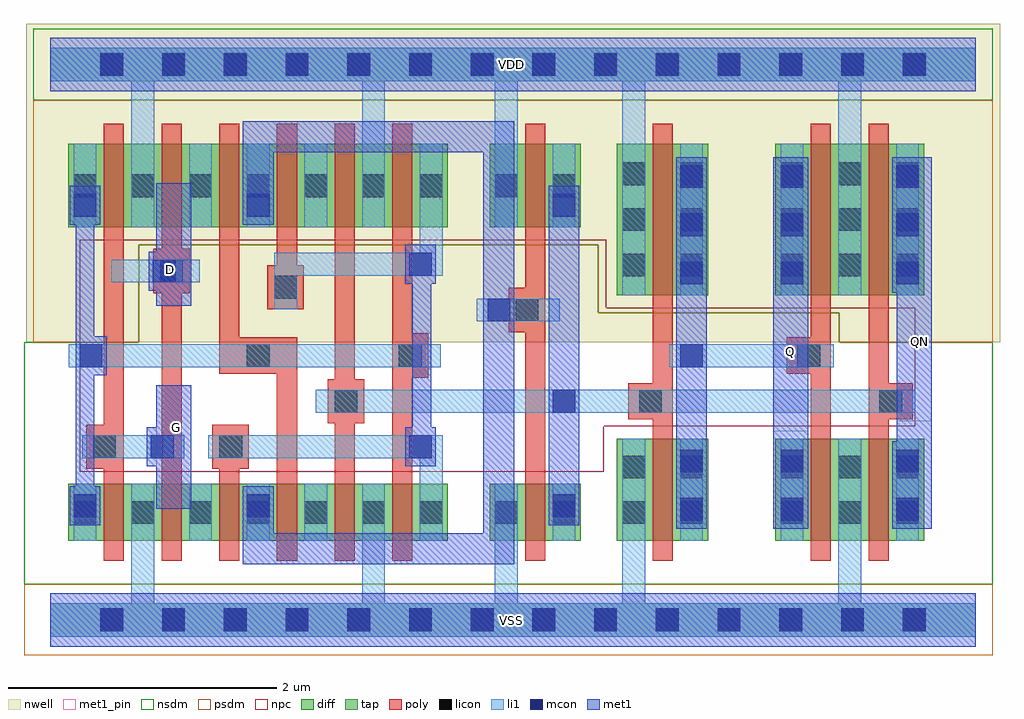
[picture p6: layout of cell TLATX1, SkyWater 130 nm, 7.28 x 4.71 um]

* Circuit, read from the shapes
.subckt TLATX1 D G Q QN VDD VSS
XM1 VSS G n1 VSS sky130_fd_pr__nfet_01v8 w=0.425 l=0.15
XM2 n2 D VSS VSS sky130_fd_pr__nfet_01v8 w=0.425 l=0.15
XM3 n3 n4 n2 VSS sky130_fd_pr__nfet_01v8 w=0.425 l=0.15
XM4 n5 n1 n3 VSS sky130_fd_pr__nfet_01v8 w=0.425 l=0.15
XM5 VSS n6 n5 VSS sky130_fd_pr__nfet_01v8 w=0.425 l=0.15
XM6 n4 n1 VSS VSS sky130_fd_pr__nfet_01v8 w=0.425 l=0.15
XM7 n6 n3 VSS VSS sky130_fd_pr__nfet_01v8 w=0.425 l=0.15
XM8 n7 n6 VSS VSS sky130_fd_pr__nfet_01v8 w=0.76 l=0.15
XM9 VSS n7 Q VSS sky130_fd_pr__nfet_01v8 w=0.76 l=0.15
XM10 QN n6 VSS VSS sky130_fd_pr__nfet_01v8 w=0.76 l=0.15
XM11 VDD G n1 VDD sky130_fd_pr__pfet_01v8 w=0.625 l=0.15
XM12 n8 D VDD VDD sky130_fd_pr__pfet_01v8 w=0.625 l=0.15
XM13 n3 n1 n8 VDD sky130_fd_pr__pfet_01v8 w=0.625 l=0.15
XM14 n9 n4 n3 VDD sky130_fd_pr__pfet_01v8 w=0.625 l=0.15
XM15 VDD n6 n9 VDD sky130_fd_pr__pfet_01v8 w=0.625 l=0.15
XM16 n4 n1 VDD VDD sky130_fd_pr__pfet_01v8 w=0.625 l=0.15
XM17 n6 n3 VDD VDD sky130_fd_pr__pfet_01v8 w=0.625 l=0.15
XM18 n7 n6 VDD VDD sky130_fd_pr__pfet_01v8 w=1.13 l=0.15
XM19 VDD n7 Q VDD sky130_fd_pr__pfet_01v8 w=1.13 l=0.15
XM20 QN n6 VDD VDD sky130_fd_pr__pfet_01v8 w=1.13 l=0.15
.ends

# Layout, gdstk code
from math import pi, radians
import gdstk
lib = gdstk.Library(unit=1e-6, precision=1e-09)
def R(c, l, rs):  # rectangles x0, y0, x1, y1
    for r in rs: c.add(gdstk.rectangle(r[:2], r[2:], *l))
def A(c, l, x, y, w, h, nx, ny, dx, dy):  # array of equal rectangles
    R(c, l, [(x+i*dx, y+j*dy, x+i*dx+w, y+j*dy+h) for i in range(nx) for j in range(ny)])
def P(c, l, *ps):  # polygons
    for p in ps: c.add(gdstk.Polygon(p, *l))
nwell = (64, 20)
diff = (65, 20)
tap = (65, 44)
poly = (66, 20)
licon = (66, 44)
li1 = (67, 20)
mcon = (67, 44)
met1_pin = (68, 16)
met1 = (68, 20)
nsdm = (93, 44)
psdm = (94, 20)
npc = (95, 20)

pyl1con_c_cdns_758728262 = lib.new_cell('PYL1CON_C_CDNS_758728262102')
R(pyl1con_c_cdns_758728262, poly, [(-0.135,-0.165,0.135,0.165)])
R(pyl1con_c_cdns_758728262, licon, [(-0.085,-0.085,0.085,0.085)])
R(pyl1con_c_cdns_758728262, npc, [(-0.185,-0.185,0.185,0.185)])

c_pyl1con_c_cdns_758728262 = lib.new_cell('PYL1CON_C_CDNS_7587282621017')
R(c_pyl1con_c_cdns_758728262, poly, [(-0.135,-0.29,0.135,0.29)])
R(c_pyl1con_c_cdns_758728262, licon, [(-0.085,-0.085,0.085,0.085)])
R(c_pyl1con_c_cdns_758728262, npc, [(-0.185,-0.185,0.185,0.185)])

l1m1_c_cdns_758728262101 = lib.new_cell('L1M1_C_CDNS_758728262101')
R(l1m1_c_cdns_758728262101, li1, [(-0.085,-0.165,0.085,0.165)])
R(l1m1_c_cdns_758728262101, mcon, [(-0.085,-0.085,0.085,0.085)])
R(l1m1_c_cdns_758728262101, met1, [(-0.115,-0.145,0.115,0.145)])

l1m1_c_cdns_758728262100 = lib.new_cell('L1M1_C_CDNS_758728262100')
R(l1m1_c_cdns_758728262100, li1, [(-0.165,-0.085,0.165,0.085)])
R(l1m1_c_cdns_758728262100, mcon, [(-0.085,-0.085,0.085,0.085)])
R(l1m1_c_cdns_758728262100, met1, [(-0.115,-0.145,0.115,0.145)])

c_l1m1_c_cdns_758728262101 = lib.new_cell('L1M1_C_CDNS_7587282621012')
R(c_l1m1_c_cdns_758728262101, li1, [(-0.085,-0.525,0.085,0.525)])
A(c_l1m1_c_cdns_758728262101, mcon, -0.085, -0.445, 0.17, 0.17, 1, 3, 0, 0.36)
R(c_l1m1_c_cdns_758728262101, met1, [(-0.115,-0.505,0.115,0.505)])

l1m1_c_cdns_758728262104 = lib.new_cell('L1M1_C_CDNS_758728262104')
R(l1m1_c_cdns_758728262104, li1, [(-0.085,-0.345,0.085,0.345)])
R(l1m1_c_cdns_758728262104, mcon, [(-0.085,-0.265,0.085,-0.095), (-0.085,0.095,0.085,0.265)])
R(l1m1_c_cdns_758728262104, met1, [(-0.115,-0.325,0.115,0.325)])

tlatx1 = lib.new_cell('TLATX1')
R(tlatx1, nwell, [(-0.18,2.07,7.08,4.445)])
R(tlatx1, diff, [(0.135,0.59,2.965,1.015), (3.275,0.59,3.955,1.015), (4.225,0.59,4.905,1.35), (5.405,0.59,6.515,1.35), (4.225,2.42,4.905,3.55), (5.405,2.42,6.515,3.55), (0.135,2.925,2.965,3.55), (3.275,2.925,3.955,3.55)])
R(tlatx1, poly, [(0.4,0.44,0.55,3.7), (0.83,0.44,0.98,3.7), (1.26,0.44,1.41,1.165), (2.12,0.44,2.27,3.7), (2.55,0.44,2.7,3.7), (3.54,0.44,3.69,3.7), (4.49,0.44,4.64,3.7), (5.67,0.44,5.82,3.7), (6.1,0.44,6.25,3.7), (1.69,2.51,1.84,3.7)])
P(tlatx1, poly, [(1.84,2.045),(1.41,2.045),(1.41,3.7),(1.26,3.7),(1.26,1.895),(1.69,1.895),(1.69,0.44),(1.84,0.44)])
A(tlatx1, licon, 0.375, -0.085, 0.17, 0.17, 14, 2, 0.46, 4.14)
A(tlatx1, licon, 0.175, 0.715, 0.17, 0.17, 7, 2, 0.43, 2.435)
A(tlatx1, licon, 5.445, 0.715, 0.17, 0.17, 3, 2, 0.43, 0.34)
A(tlatx1, licon, 4.265, 2.56, 0.17, 0.17, 1, 3, 0, 0.34)
A(tlatx1, licon, 4.695, 2.56, 0.17, 0.17, 1, 3, 0, 0.34)
A(tlatx1, licon, 5.445, 2.56, 0.17, 0.17, 3, 3, 0.43, 0.34)
R(tlatx1, licon, [(3.315,0.715,3.485,0.885), (3.745,0.715,3.915,0.885), (4.265,0.715,4.435,0.885), (4.695,0.715,4.865,0.885), (4.265,1.055,4.435,1.225), (4.695,1.055,4.865,1.225), (3.315,3.15,3.485,3.32), (3.745,3.15,3.915,3.32)])
A(tlatx1, li1, 1.035, 0.59, 0.17, 0.425, 3, 1, 0.43, 0)
A(tlatx1, li1, 1.035, 2.925, 0.17, 0.625, 3, 1, 0.43, 0)
R(tlatx1, li1, [(0.175,0.59,0.345,1.015), (3.745,0.59,3.915,1.015), (4.695,0.59,4.865,1.35), (5.445,0.59,5.615,1.35), (6.305,0.59,6.475,1.35), (4.695,2.42,4.865,3.55), (5.445,2.42,5.615,3.55), (6.305,2.42,6.475,3.55), (0.175,2.925,0.345,3.55), (3.745,2.925,3.915,3.55)])
P(tlatx1, li1, [(2.925,1.29),(2.825,1.29),(2.825,1.375),(1.18,1.375),(1.18,1.205),(2.755,1.205),(2.755,0.59),(2.925,0.59)],
  [(6.9,0.125),(6.045,0.125),(6.045,1.35),(5.875,1.35),(5.875,0.125),(4.435,0.125),(4.435,1.35),(4.265,1.35),(4.265,0.125),(3.485,0.125),(3.485,1.015),(3.315,1.015),(3.315,0.125),(2.495,0.125),(2.495,1.015),(2.325,1.015),(2.325,0.125),(0.775,0.125),(0.775,1.015),(0.605,1.015),(0.605,0.125),(0,0.125),(0,-0.125),(6.9,-0.125)],
  [(2.925,3.55),(2.755,3.55),(2.755,2.735),(1.67,2.735),(1.67,2.315),(1.84,2.315),(1.84,2.565),(2.79,2.565),(2.79,2.65),(2.925,2.65)],
  [(6.9,4.265),(0,4.265),(0,4.015),(0.605,4.015),(0.605,2.925),(0.775,2.925),(0.775,4.015),(2.325,4.015),(2.325,2.925),(2.495,2.925),(2.495,4.015),(3.315,4.015),(3.315,2.925),(3.485,2.925),(3.485,4.015),(4.265,4.015),(4.265,2.42),(4.435,2.42),(4.435,4.015),(5.875,4.015),(5.875,2.42),(6.045,2.42),(6.045,4.015),(6.9,4.015)])
A(tlatx1, mcon, 0.375, -0.085, 0.17, 0.17, 14, 2, 0.46, 4.14)
R(tlatx1, met1_pin, [(0.79,0.83,1.05,1.75), (5.39,1.405,5.65,3.445), (6.31,1.48,6.57,3.45), (0.79,2.34,1.05,3.255)])
R(tlatx1, nsdm, [(-0.125,3.875,7.025,4.405)])
P(tlatx1, nsdm, [(7.025,2.07),(5.88,2.07),(5.88,2.29),(4.085,2.29),(4.085,2.795),(0.66,2.795),(0.66,2.07),(-0.195,2.07),(-0.195,0.265),(7.025,0.265)])
R(tlatx1, psdm, [(-0.195,-0.265,7.025,0.265)])
P(tlatx1, psdm, [(7.025,3.875),(-0.125,3.875),(-0.125,2.07),(0.66,2.07),(0.66,2.795),(4.085,2.795),(4.085,2.29),(5.88,2.29),(5.88,2.07),(7.025,2.07)])
P(tlatx1, npc, [(6.45,2.325),(4.145,2.325),(4.145,2.835),(0.22,2.835),(0.22,1.105),(4.125,1.105),(4.125,1.445),(6.45,1.445)])
tlatx1.add(gdstk.FlexPath([(0.19,1.97),(2.91,1.97)], 0.17, ends="flush", simple_path=True, layer=67, datatype=20))  # li1
tlatx1.add(gdstk.FlexPath([(0.455,2.6),(1.115,2.6)], 0.17, ends="flush", simple_path=True, layer=67, datatype=20))  # li1
tlatx1.add(gdstk.FlexPath([(0.24,1.29),(0.785,1.29)], 0.17, ends="flush", simple_path=True, layer=67, datatype=20))  # li1
tlatx1.add(gdstk.FlexPath([(4.79,1.97),(5.84,1.97)], 0.17, ends="flush", simple_path=True, layer=67, datatype=20))  # li1
tlatx1.add(gdstk.FlexPath([(1.98,1.63),(6.45,1.63)], 0.17, ends="flush", simple_path=True, layer=67, datatype=20))  # li1
tlatx1.add(gdstk.FlexPath([(3.345,2.31),(3.8,2.31)], 0.17, ends="flush", simple_path=True, layer=67, datatype=20))  # li1
tlatx1.add(gdstk.FlexPath([(0,4.14),(6.9,4.14)], 0.25, ends="flush", simple_path=True, layer=65, datatype=44))  # tap
tlatx1.add(gdstk.FlexPath([(0,0),(6.9,0)], 0.25, ends="flush", simple_path=True, layer=65, datatype=44))  # tap
tlatx1.add(gdstk.FlexPath([(2.77,2.72),(2.77,1.225)], 0.14, ends="flush", simple_path=True, layer=68, datatype=20))  # met1
tlatx1.add(gdstk.FlexPath([(0,4.14),(6.9,4.14)], 0.4, ends="flush", simple_path=True, layer=68, datatype=20))  # met1
tlatx1.add(gdstk.FlexPath([(3.83,0.705),(3.83,3.235)], 0.23, ends="flush", simple_path=True, layer=68, datatype=20))  # met1
tlatx1.add(gdstk.FlexPath([(0.92,2.34),(0.92,3.255)], 0.26, ends="flush", simple_path=True, layer=68, datatype=20))  # met1
tlatx1.add(gdstk.FlexPath([(0.26,0.705),(0.26,3.235)], 0.14, ends="flush", simple_path=True, layer=68, datatype=20))  # met1
tlatx1.add(gdstk.FlexPath([(0.92,0.83),(0.92,1.75)], 0.26, ends="flush", simple_path=True, layer=68, datatype=20))  # met1
tlatx1.add(gdstk.FlexPath([(5.52,0.68),(5.52,3.45)], 0.26, ends="flush", simple_path=True, layer=68, datatype=20))  # met1
tlatx1.add(gdstk.FlexPath([(6.44,0.68),(6.44,3.45)], 0.26, ends="flush", simple_path=True, layer=68, datatype=20))  # met1
tlatx1.add(gdstk.FlexPath([(4.78,0.68),(4.78,3.45)], 0.23, ends="flush", simple_path=True, layer=68, datatype=20))  # met1
tlatx1.add(gdstk.FlexPath([(0,0),(6.9,0)], 0.4, ends="flush", simple_path=True, layer=68, datatype=20))  # met1
tlatx1.add(gdstk.FlexPath([(1.55,0.85),(1.55,0.53),(3.345,0.53),(3.345,3.6),(1.55,3.6),(1.55,3.09)], 0.23, ends="flush", simple_path=True, layer=68, datatype=20))  # met1
tlatx1.add(gdstk.FlexPath([(0,4.14),(6.9,4.14)], 0.4, ends="flush", simple_path=True, layer=68, datatype=16))  # met1_pin
tlatx1.add(gdstk.FlexPath([(0,0),(6.9,0)], 0.4, ends="flush", simple_path=True, layer=68, datatype=16))  # met1_pin
tlatx1.add(gdstk.Reference(pyl1con_c_cdns_758728262, (4.475,1.63), rotation=pi/2, x_reflection=True))
tlatx1.add(gdstk.Reference(pyl1con_c_cdns_758728262, (2.685,1.97)))
tlatx1.add(gdstk.Reference(pyl1con_c_cdns_758728262, (1.345,1.29), x_reflection=True))
tlatx1.add(gdstk.Reference(pyl1con_c_cdns_758728262, (6.265,1.63), rotation=pi/2, x_reflection=True))
tlatx1.add(gdstk.Reference(pyl1con_c_cdns_758728262, (5.655,1.97), rotation=pi/2, x_reflection=True))
tlatx1.add(gdstk.Reference(pyl1con_c_cdns_758728262, (1.755,2.48), rotation=pi))
tlatx1.add(gdstk.Reference(pyl1con_c_cdns_758728262, (0.905,2.6), x_reflection=True))
tlatx1.add(gdstk.Reference(pyl1con_c_cdns_758728262, (0.405,1.29), rotation=pi))
tlatx1.add(gdstk.Reference(pyl1con_c_cdns_758728262, (3.555,2.31), x_reflection=True))
tlatx1.add(gdstk.Reference(pyl1con_c_cdns_758728262, (2.205,1.63), rotation=pi))
tlatx1.add(gdstk.Reference(c_pyl1con_c_cdns_758728262, (1.55,1.97), rotation=pi/2, x_reflection=True))
tlatx1.add(gdstk.Reference(l1m1_c_cdns_758728262101, (1.55,3.09), rotation=pi, x_reflection=True))
tlatx1.add(gdstk.Reference(l1m1_c_cdns_758728262101, (1.55,0.85), rotation=pi, x_reflection=True))
tlatx1.add(gdstk.Reference(l1m1_c_cdns_758728262101, (3.83,0.85), rotation=pi, x_reflection=True))
tlatx1.add(gdstk.Reference(l1m1_c_cdns_758728262101, (3.83,3.09), rotation=pi, x_reflection=True))
tlatx1.add(gdstk.Reference(l1m1_c_cdns_758728262101, (0.26,0.85), rotation=pi, x_reflection=True))
tlatx1.add(gdstk.Reference(l1m1_c_cdns_758728262101, (0.26,3.09), rotation=pi, x_reflection=True))
tlatx1.add(gdstk.Reference(l1m1_c_cdns_758728262100, (2.76,2.65)))
tlatx1.add(gdstk.Reference(l1m1_c_cdns_758728262100, (3.83,1.63)))
tlatx1.add(gdstk.Reference(l1m1_c_cdns_758728262100, (0.85,2.6), x_reflection=True))
tlatx1.add(gdstk.Reference(l1m1_c_cdns_758728262100, (2.76,1.29)))
tlatx1.add(gdstk.Reference(l1m1_c_cdns_758728262100, (0.835,1.29), x_reflection=True))
tlatx1.add(gdstk.Reference(l1m1_c_cdns_758728262100, (0.305,1.97), rotation=pi, x_reflection=True))
tlatx1.add(gdstk.Reference(l1m1_c_cdns_758728262100, (3.345,2.31)))
tlatx1.add(gdstk.Reference(l1m1_c_cdns_758728262100, (4.78,1.97), x_reflection=True))
tlatx1.add(gdstk.Reference(c_l1m1_c_cdns_758728262101, (5.53,2.945)))
tlatx1.add(gdstk.Reference(c_l1m1_c_cdns_758728262101, (6.39,2.945)))
tlatx1.add(gdstk.Reference(c_l1m1_c_cdns_758728262101, (4.78,2.945)))
tlatx1.add(gdstk.Reference(l1m1_c_cdns_758728262104, (5.53,1.005)))
tlatx1.add(gdstk.Reference(l1m1_c_cdns_758728262104, (6.39,1.005)))
tlatx1.add(gdstk.Reference(l1m1_c_cdns_758728262104, (4.78,1.005)))
tlatx1.add(gdstk.Label('VDD', (3.44,4.14), layer=68, texttype=5))
tlatx1.add(gdstk.Label('VSS', (3.44,-0.005), layer=68, texttype=5))
tlatx1.add(gdstk.Label('G', (0.942,1.434), layer=68, texttype=5))
tlatx1.add(gdstk.Label('Q', (5.522,1.999), layer=68, texttype=5))
tlatx1.add(gdstk.Label('QN', (6.482,2.074), layer=68, texttype=5))
tlatx1.add(gdstk.Label('D', (0.895,2.61), layer=68, texttype=5))

lib.write_gds('TLATX1.gds')
